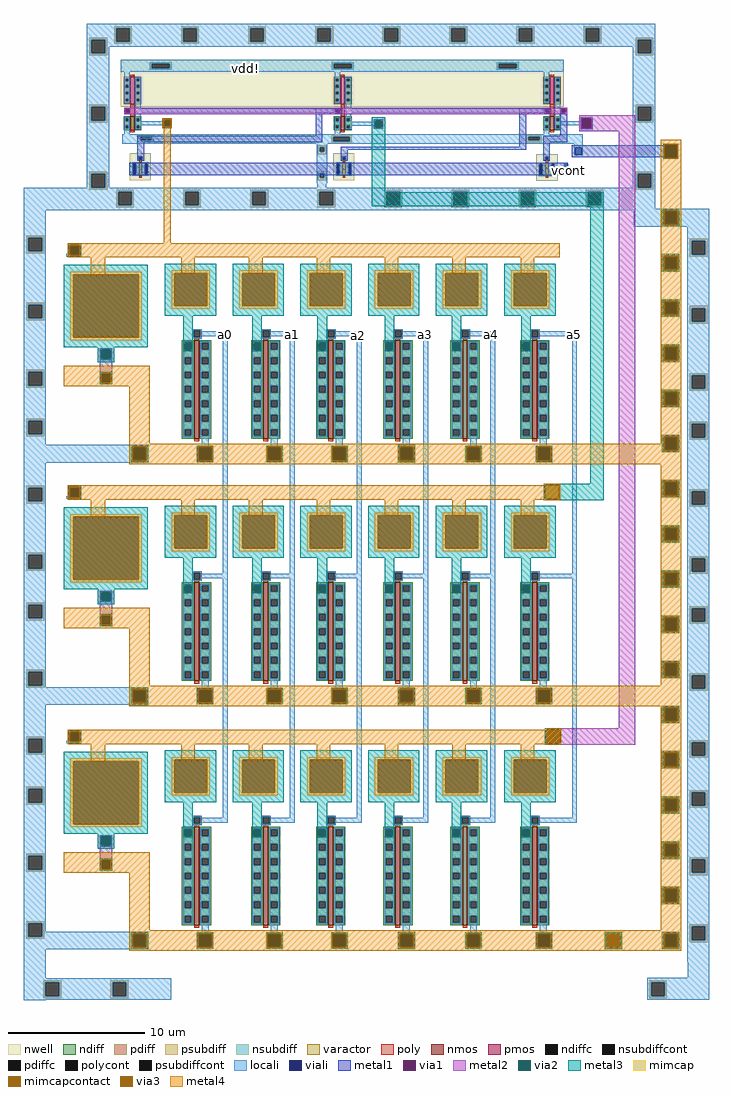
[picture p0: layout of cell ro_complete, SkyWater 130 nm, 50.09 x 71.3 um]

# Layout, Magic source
magic
tech sky130A
<< psubdiff >>
rect 4315 75 4445 90
rect 4315 -25 4330 75
rect 4430 -25 4445 75
rect 4315 -40 4445 -25
rect -329 -121 -199 -106
rect -329 -221 -314 -121
rect -214 -221 -199 -121
rect -329 -236 -199 -221
rect 4518 -145 4648 -130
rect 4315 -255 4445 -240
rect 4315 -355 4330 -255
rect 4430 -355 4445 -255
rect 4518 -245 4533 -145
rect 4633 -245 4648 -145
rect 4518 -260 4648 -245
rect 4315 -370 4445 -355
rect 4315 -585 4445 -570
rect -329 -611 -199 -596
rect -329 -711 -314 -611
rect -214 -711 -199 -611
rect 4315 -685 4330 -585
rect 4430 -685 4445 -585
rect 4315 -700 4445 -685
rect 4518 -635 4648 -620
rect -329 -726 -199 -711
rect 4518 -735 4533 -635
rect 4633 -735 4648 -635
rect 4518 -750 4648 -735
rect 4315 -915 4445 -900
rect 4315 -1015 4330 -915
rect 4430 -1015 4445 -915
rect 4315 -1030 4445 -1015
rect -329 -1101 -199 -1086
rect -329 -1201 -314 -1101
rect -214 -1201 -199 -1101
rect -329 -1216 -199 -1201
rect 4518 -1125 4648 -1110
rect 4518 -1225 4533 -1125
rect 4633 -1225 4648 -1125
rect 4315 -1245 4445 -1230
rect 4518 -1240 4648 -1225
rect 4315 -1345 4330 -1245
rect 4430 -1345 4445 -1245
rect 4315 -1360 4445 -1345
rect -329 -1458 -199 -1443
rect -329 -1558 -314 -1458
rect -214 -1558 -199 -1458
rect -329 -1573 -199 -1558
rect 4518 -1482 4648 -1467
rect 4315 -1575 4445 -1560
rect 4315 -1675 4330 -1575
rect 4430 -1675 4445 -1575
rect 4518 -1582 4533 -1482
rect 4633 -1582 4648 -1482
rect 4518 -1597 4648 -1582
rect 4315 -1690 4445 -1675
rect 4315 -1905 4445 -1890
rect -329 -1948 -199 -1933
rect -329 -2048 -314 -1948
rect -214 -2048 -199 -1948
rect 4315 -2005 4330 -1905
rect 4430 -2005 4445 -1905
rect 4315 -2020 4445 -2005
rect 4518 -1972 4648 -1957
rect -329 -2063 -199 -2048
rect 4518 -2072 4533 -1972
rect 4633 -2072 4648 -1972
rect 4518 -2087 4648 -2072
rect 4315 -2235 4445 -2220
rect 4315 -2335 4330 -2235
rect 4430 -2335 4445 -2235
rect 4315 -2350 4445 -2335
rect -329 -2438 -199 -2423
rect -329 -2538 -314 -2438
rect -214 -2538 -199 -2438
rect -329 -2553 -199 -2538
rect 4518 -2462 4648 -2447
rect 4315 -2565 4445 -2550
rect 4315 -2665 4330 -2565
rect 4430 -2665 4445 -2565
rect 4518 -2562 4533 -2462
rect 4633 -2562 4648 -2462
rect 4518 -2577 4648 -2562
rect 4315 -2680 4445 -2665
rect -329 -2803 -199 -2788
rect -329 -2903 -314 -2803
rect -214 -2903 -199 -2803
rect 4518 -2827 4648 -2812
rect -329 -2918 -199 -2903
rect 4315 -2895 4445 -2880
rect 4315 -2995 4330 -2895
rect 4430 -2995 4445 -2895
rect 4518 -2927 4533 -2827
rect 4633 -2927 4648 -2827
rect 4518 -2942 4648 -2927
rect 4315 -3010 4445 -2995
rect 4315 -3225 4445 -3210
rect -329 -3293 -199 -3278
rect -329 -3393 -314 -3293
rect -214 -3393 -199 -3293
rect 4315 -3325 4330 -3225
rect 4430 -3325 4445 -3225
rect 4315 -3340 4445 -3325
rect 4518 -3317 4648 -3302
rect -329 -3408 -199 -3393
rect 4518 -3417 4533 -3317
rect 4633 -3417 4648 -3317
rect 4518 -3432 4648 -3417
rect 4315 -3555 4445 -3540
rect 4315 -3655 4330 -3555
rect 4430 -3655 4445 -3555
rect 4315 -3670 4445 -3655
rect -329 -3783 -199 -3768
rect -329 -3883 -314 -3783
rect -214 -3883 -199 -3783
rect 4518 -3807 4648 -3792
rect -329 -3898 -199 -3883
rect 4315 -3885 4445 -3870
rect 4315 -3985 4330 -3885
rect 4430 -3985 4445 -3885
rect 4518 -3907 4533 -3807
rect 4633 -3907 4648 -3807
rect 4518 -3922 4648 -3907
rect 4315 -4000 4445 -3985
rect -329 -4148 -199 -4133
rect -329 -4248 -314 -4148
rect -214 -4248 -199 -4148
rect 4518 -4172 4648 -4157
rect -329 -4263 -199 -4248
rect 4315 -4215 4445 -4200
rect 4315 -4315 4330 -4215
rect 4430 -4315 4445 -4215
rect 4518 -4272 4533 -4172
rect 4633 -4272 4648 -4172
rect 4518 -4287 4648 -4272
rect 4315 -4330 4445 -4315
rect 4315 -4545 4445 -4530
rect -329 -4638 -199 -4623
rect -329 -4738 -314 -4638
rect -214 -4738 -199 -4638
rect 4315 -4645 4330 -4545
rect 4430 -4645 4445 -4545
rect 4315 -4660 4445 -4645
rect -329 -4753 -199 -4738
rect 4518 -4662 4648 -4647
rect 4518 -4762 4533 -4662
rect 4633 -4762 4648 -4662
rect 4518 -4777 4648 -4762
rect 4315 -4875 4445 -4860
rect 4315 -4975 4330 -4875
rect 4430 -4975 4445 -4875
rect 4315 -4990 4445 -4975
rect -329 -5128 -199 -5113
rect -329 -5228 -314 -5128
rect -214 -5228 -199 -5128
rect 4518 -5152 4648 -5137
rect -329 -5243 -199 -5228
rect 3895 -5205 4025 -5190
rect 3895 -5305 3910 -5205
rect 4010 -5305 4025 -5205
rect 3895 -5320 4025 -5305
rect 4315 -5205 4445 -5190
rect 4315 -5305 4330 -5205
rect 4430 -5305 4445 -5205
rect 4518 -5252 4533 -5152
rect 4633 -5252 4648 -5152
rect 4518 -5267 4648 -5252
rect 4315 -5320 4445 -5305
rect -204 -5562 -74 -5547
rect -204 -5662 -189 -5562
rect -89 -5662 -74 -5562
rect -204 -5677 -74 -5662
rect 286 -5562 416 -5547
rect 286 -5662 301 -5562
rect 401 -5662 416 -5562
rect 286 -5677 416 -5662
rect 4221 -5561 4351 -5546
rect 4221 -5661 4236 -5561
rect 4336 -5661 4351 -5561
rect 4221 -5676 4351 -5661
<< psubdiffcont >>
rect 4330 -25 4430 75
rect -314 -221 -214 -121
rect 4330 -355 4430 -255
rect 4533 -245 4633 -145
rect -314 -711 -214 -611
rect 4330 -685 4430 -585
rect 4533 -735 4633 -635
rect 4330 -1015 4430 -915
rect -314 -1201 -214 -1101
rect 4533 -1225 4633 -1125
rect 4330 -1345 4430 -1245
rect -314 -1558 -214 -1458
rect 4330 -1675 4430 -1575
rect 4533 -1582 4633 -1482
rect -314 -2048 -214 -1948
rect 4330 -2005 4430 -1905
rect 4533 -2072 4633 -1972
rect 4330 -2335 4430 -2235
rect -314 -2538 -214 -2438
rect 4330 -2665 4430 -2565
rect 4533 -2562 4633 -2462
rect -314 -2903 -214 -2803
rect 4330 -2995 4430 -2895
rect 4533 -2927 4633 -2827
rect -314 -3393 -214 -3293
rect 4330 -3325 4430 -3225
rect 4533 -3417 4633 -3317
rect 4330 -3655 4430 -3555
rect -314 -3883 -214 -3783
rect 4330 -3985 4430 -3885
rect 4533 -3907 4633 -3807
rect -314 -4248 -214 -4148
rect 4330 -4315 4430 -4215
rect 4533 -4272 4633 -4172
rect -314 -4738 -214 -4638
rect 4330 -4645 4430 -4545
rect 4533 -4762 4633 -4662
rect 4330 -4975 4430 -4875
rect -314 -5228 -214 -5128
rect 3910 -5305 4010 -5205
rect 4330 -5305 4430 -5205
rect 4533 -5252 4633 -5152
rect -189 -5662 -89 -5562
rect 301 -5662 401 -5562
rect 4236 -5661 4336 -5561
<< locali >>
rect 3720 750 3810 760
rect 665 740 735 750
rect 665 730 675 740
rect 505 700 675 730
rect 665 690 675 700
rect 725 690 735 740
rect 2210 735 2280 745
rect 2210 725 2220 735
rect 2040 695 2220 725
rect 665 680 735 690
rect 2210 685 2220 695
rect 2270 685 2280 735
rect 3720 730 3730 750
rect 3570 700 3730 730
rect 2210 675 2280 685
rect 3720 680 3730 700
rect 3800 680 3810 750
rect 3720 670 3810 680
rect 3595 565 3735 635
rect 3675 535 3735 565
rect 3675 485 3680 535
rect 3730 485 3735 535
rect 3675 480 3735 485
rect 3598 415 3628 426
rect 3598 338 3606 415
rect 3623 338 3628 415
rect 3598 330 3628 338
rect -346 81 295 245
rect 4108 91 4267 132
rect -346 -121 -186 81
rect 4108 75 4661 91
rect 4108 -25 4330 75
rect 4430 -25 4661 75
rect 4108 -42 4661 -25
rect -346 -221 -314 -121
rect -214 -221 -186 -121
rect -346 -611 -186 -221
rect 4501 -145 4661 -42
rect 4501 -245 4533 -145
rect 4633 -245 4661 -145
rect 4320 -255 4440 -245
rect 4320 -355 4330 -255
rect 4430 -355 4440 -255
rect 4320 -365 4440 -355
rect -346 -711 -314 -611
rect -214 -711 -186 -611
rect 4320 -585 4440 -575
rect 4320 -685 4330 -585
rect 4430 -685 4440 -585
rect 4320 -695 4440 -685
rect 4501 -635 4661 -245
rect -346 -1101 -186 -711
rect 4501 -735 4533 -635
rect 4633 -735 4661 -635
rect 958 -840 1143 -805
rect 1462 -840 1632 -805
rect 1936 -840 2121 -805
rect 2426 -840 2606 -805
rect 2917 -840 3097 -805
rect 3428 -840 3693 -805
rect -346 -1201 -314 -1101
rect -214 -1201 -186 -1101
rect -346 -1458 -186 -1201
rect -346 -1558 -314 -1458
rect -214 -1558 -186 -1458
rect -346 -1634 -186 -1558
rect -346 -1764 565 -1634
rect -346 -1948 -186 -1764
rect -346 -2048 -314 -1948
rect -214 -2048 -186 -1948
rect -346 -2438 -186 -2048
rect -346 -2538 -314 -2438
rect -214 -2538 -186 -2438
rect -346 -2803 -186 -2538
rect 1108 -2575 1143 -840
rect 1597 -2575 1632 -840
rect 2086 -2575 2121 -840
rect 2571 -2575 2606 -840
rect 3062 -2575 3097 -840
rect 3658 -2575 3693 -840
rect 4320 -915 4440 -905
rect 4320 -1015 4330 -915
rect 4430 -1015 4440 -915
rect 4320 -1025 4440 -1015
rect 4501 -1125 4661 -735
rect 4501 -1225 4533 -1125
rect 4633 -1225 4661 -1125
rect 4320 -1245 4440 -1235
rect 4320 -1345 4330 -1245
rect 4430 -1345 4440 -1245
rect 4320 -1355 4440 -1345
rect 4501 -1482 4661 -1225
rect 4320 -1575 4440 -1565
rect 4320 -1675 4330 -1575
rect 4430 -1675 4440 -1575
rect 4320 -1685 4440 -1675
rect 4501 -1582 4533 -1482
rect 4633 -1582 4661 -1482
rect 4320 -1905 4440 -1895
rect 4320 -2005 4330 -1905
rect 4430 -2005 4440 -1905
rect 4320 -2015 4440 -2005
rect 4501 -1972 4661 -1582
rect 4501 -2072 4533 -1972
rect 4633 -2072 4661 -1972
rect 4320 -2235 4440 -2225
rect 4320 -2335 4330 -2235
rect 4430 -2335 4440 -2235
rect 4320 -2345 4440 -2335
rect 4501 -2462 4661 -2072
rect 958 -2610 1143 -2575
rect 1462 -2610 1632 -2575
rect 1936 -2610 2121 -2575
rect 2426 -2610 2606 -2575
rect 2917 -2610 3097 -2575
rect 3428 -2610 3693 -2575
rect -346 -2903 -314 -2803
rect -214 -2903 -186 -2803
rect -346 -3293 -186 -2903
rect -346 -3393 -314 -3293
rect -214 -3393 -186 -3293
rect -346 -3404 -186 -3393
rect -346 -3534 563 -3404
rect -346 -3783 -186 -3534
rect -346 -3883 -314 -3783
rect -214 -3883 -186 -3783
rect -346 -4148 -186 -3883
rect -346 -4248 -314 -4148
rect -214 -4248 -186 -4148
rect -346 -4638 -186 -4248
rect 1108 -4360 1143 -2610
rect 1597 -4360 1632 -2610
rect 2086 -4360 2121 -2610
rect 2571 -4360 2606 -2610
rect 3062 -4360 3097 -2610
rect 3658 -4360 3693 -2610
rect 4320 -2565 4440 -2555
rect 4320 -2665 4330 -2565
rect 4430 -2665 4440 -2565
rect 4320 -2675 4440 -2665
rect 4501 -2562 4533 -2462
rect 4633 -2562 4661 -2462
rect 4501 -2827 4661 -2562
rect 4320 -2895 4440 -2885
rect 4320 -2995 4330 -2895
rect 4430 -2995 4440 -2895
rect 4320 -3005 4440 -2995
rect 4501 -2927 4533 -2827
rect 4633 -2927 4661 -2827
rect 4320 -3225 4440 -3215
rect 4320 -3325 4330 -3225
rect 4430 -3325 4440 -3225
rect 4320 -3335 4440 -3325
rect 4501 -3317 4661 -2927
rect 4501 -3417 4533 -3317
rect 4633 -3417 4661 -3317
rect 4320 -3555 4440 -3545
rect 4320 -3655 4330 -3555
rect 4430 -3655 4440 -3555
rect 4320 -3665 4440 -3655
rect 4501 -3807 4661 -3417
rect 4320 -3885 4440 -3875
rect 4320 -3985 4330 -3885
rect 4430 -3985 4440 -3885
rect 4320 -3995 4440 -3985
rect 4501 -3907 4533 -3807
rect 4633 -3907 4661 -3807
rect 4501 -4172 4661 -3907
rect 4320 -4215 4440 -4205
rect 4320 -4315 4330 -4215
rect 4430 -4315 4440 -4215
rect 4320 -4325 4440 -4315
rect 4501 -4272 4533 -4172
rect 4633 -4272 4661 -4172
rect 958 -4395 1143 -4360
rect 1462 -4395 1632 -4360
rect 1936 -4395 2121 -4360
rect 2426 -4395 2606 -4360
rect 2917 -4395 3097 -4360
rect 3428 -4395 3693 -4360
rect -346 -4738 -314 -4638
rect -214 -4738 -186 -4638
rect 4320 -4545 4440 -4535
rect 4320 -4645 4330 -4545
rect 4430 -4645 4440 -4545
rect 4320 -4655 4440 -4645
rect -346 -5128 -186 -4738
rect 4501 -4662 4661 -4272
rect 4501 -4762 4533 -4662
rect 4633 -4762 4661 -4662
rect 4320 -4875 4440 -4865
rect 4320 -4975 4330 -4875
rect 4430 -4975 4440 -4875
rect 4320 -4985 4440 -4975
rect -346 -5228 -314 -5128
rect -214 -5191 -186 -5128
rect 4501 -5152 4661 -4762
rect -214 -5228 567 -5191
rect -346 -5318 567 -5228
rect 3900 -5205 4020 -5195
rect 3900 -5305 3910 -5205
rect 4010 -5305 4020 -5205
rect 3900 -5315 4020 -5305
rect 4320 -5205 4440 -5195
rect 4320 -5305 4330 -5205
rect 4430 -5305 4440 -5205
rect 4320 -5315 4440 -5305
rect 4501 -5252 4533 -5152
rect 4633 -5252 4661 -5152
rect -348 -5321 567 -5318
rect -348 -5530 -185 -5321
rect 4501 -5389 4661 -5252
rect 4501 -5410 4659 -5389
rect 4502 -5529 4659 -5410
rect -348 -5562 731 -5530
rect -348 -5662 -189 -5562
rect -89 -5662 301 -5562
rect 401 -5662 731 -5562
rect -348 -5688 731 -5662
rect 4207 -5561 4659 -5529
rect 4207 -5661 4236 -5561
rect 4336 -5661 4659 -5561
rect 4207 -5687 4659 -5661
rect -348 -5690 -185 -5688
<< viali >>
rect 675 690 725 740
rect 2220 685 2270 735
rect 3730 680 3800 750
rect 3680 485 3730 535
rect 3606 338 3623 415
rect 4330 -25 4430 75
rect 4330 -355 4430 -255
rect 4330 -685 4430 -585
rect 4330 -1015 4430 -915
rect 4330 -1345 4430 -1245
rect 4330 -1675 4430 -1575
rect 4330 -2005 4430 -1905
rect 4330 -2335 4430 -2235
rect 4330 -2665 4430 -2565
rect 4330 -2995 4430 -2895
rect 4330 -3325 4430 -3225
rect 4330 -3655 4430 -3555
rect 4330 -3985 4430 -3885
rect 4330 -4315 4430 -4215
rect 4330 -4645 4430 -4545
rect 4330 -4975 4430 -4875
rect 3910 -5305 4010 -5205
rect 4330 -5305 4430 -5205
<< metal1 >>
rect 3720 750 3810 760
rect 665 740 735 750
rect 665 690 675 740
rect 725 690 735 740
rect 665 680 735 690
rect 2210 735 2280 745
rect 2210 685 2220 735
rect 2270 685 2280 735
rect 2210 675 2280 685
rect 3720 680 3730 750
rect 3800 680 3810 750
rect 3720 670 3810 680
rect 4325 560 4435 565
rect 4325 555 4330 560
rect 3655 535 4330 555
rect 3655 485 3680 535
rect 3730 485 4330 535
rect 3655 465 4330 485
rect 4325 460 4330 465
rect 4430 460 4435 560
rect 4325 455 4435 460
rect 3598 415 3628 426
rect 3598 338 3606 415
rect 3623 338 3628 415
rect 3598 330 3628 338
rect 4320 75 4440 85
rect 4320 -25 4330 75
rect 4430 -25 4440 75
rect 4320 -35 4440 -25
rect 4320 -255 4440 -245
rect 4320 -355 4330 -255
rect 4430 -355 4440 -255
rect 4320 -365 4440 -355
rect 4320 -585 4440 -575
rect 4320 -685 4330 -585
rect 4430 -685 4440 -585
rect 4320 -695 4440 -685
rect 4320 -915 4440 -905
rect 4320 -1015 4330 -915
rect 4430 -1015 4440 -915
rect 4320 -1025 4440 -1015
rect 4320 -1245 4440 -1235
rect 4320 -1345 4330 -1245
rect 4430 -1345 4440 -1245
rect 4320 -1355 4440 -1345
rect 4320 -1575 4440 -1565
rect 4320 -1675 4330 -1575
rect 4430 -1675 4440 -1575
rect 4320 -1685 4440 -1675
rect 4320 -1905 4440 -1895
rect 4320 -2005 4330 -1905
rect 4430 -2005 4440 -1905
rect 4320 -2015 4440 -2005
rect 4320 -2235 4440 -2225
rect 4320 -2335 4330 -2235
rect 4430 -2335 4440 -2235
rect 4320 -2345 4440 -2335
rect 4320 -2565 4440 -2555
rect 4320 -2665 4330 -2565
rect 4430 -2665 4440 -2565
rect 4320 -2675 4440 -2665
rect 4320 -2895 4440 -2885
rect 4320 -2995 4330 -2895
rect 4430 -2995 4440 -2895
rect 4320 -3005 4440 -2995
rect 4320 -3225 4440 -3215
rect 4320 -3325 4330 -3225
rect 4430 -3325 4440 -3225
rect 4320 -3335 4440 -3325
rect 4320 -3555 4440 -3545
rect 4320 -3655 4330 -3555
rect 4430 -3655 4440 -3555
rect 4320 -3665 4440 -3655
rect 4320 -3885 4440 -3875
rect 4320 -3985 4330 -3885
rect 4430 -3985 4440 -3885
rect 4320 -3995 4440 -3985
rect 4320 -4215 4440 -4205
rect 4320 -4315 4330 -4215
rect 4430 -4315 4440 -4215
rect 4320 -4325 4440 -4315
rect 4320 -4545 4440 -4535
rect 4320 -4645 4330 -4545
rect 4430 -4645 4440 -4545
rect 4320 -4655 4440 -4645
rect 4320 -4875 4440 -4865
rect 4320 -4975 4330 -4875
rect 4430 -4975 4440 -4875
rect 4320 -4985 4440 -4975
rect 3900 -5205 4020 -5195
rect 3900 -5305 3910 -5205
rect 4010 -5305 4020 -5205
rect 3900 -5315 4020 -5305
rect 4320 -5205 4440 -5195
rect 4320 -5305 4330 -5205
rect 4430 -5305 4440 -5205
rect 4320 -5315 4440 -5305
<< via1 >>
rect 675 690 725 740
rect 2220 685 2270 735
rect 3730 680 3800 750
rect 4330 460 4430 560
rect 4330 -25 4430 75
rect 4330 -355 4430 -255
rect 4330 -685 4430 -585
rect 4330 -1015 4430 -915
rect 4330 -1345 4430 -1245
rect 4330 -1675 4430 -1575
rect 4330 -2005 4430 -1905
rect 4330 -2335 4430 -2235
rect 4330 -2665 4430 -2565
rect 4330 -2995 4430 -2895
rect 4330 -3325 4430 -3225
rect 4330 -3655 4430 -3555
rect 4330 -3985 4430 -3885
rect 4330 -4315 4430 -4215
rect 4330 -4645 4430 -4545
rect 4330 -4975 4430 -4875
rect 3910 -5305 4010 -5205
rect 4330 -5305 4430 -5205
<< metal2 >>
rect 3710 750 4120 775
rect 665 740 735 750
rect 665 690 675 740
rect 725 690 735 740
rect 665 680 735 690
rect 2210 735 2280 745
rect 2210 685 2220 735
rect 2270 685 2280 735
rect 2210 675 2280 685
rect 3710 680 3730 750
rect 3800 680 4120 750
rect 3710 655 4120 680
rect 4000 -3705 4120 655
rect 4325 560 4435 565
rect 4325 460 4330 560
rect 4430 460 4435 560
rect 4325 455 4435 460
rect 4320 75 4440 85
rect 4320 -25 4330 75
rect 4430 -25 4440 75
rect 4320 -35 4440 -25
rect 4320 -255 4440 -245
rect 4320 -355 4330 -255
rect 4430 -355 4440 -255
rect 4320 -365 4440 -355
rect 4320 -585 4440 -575
rect 4320 -685 4330 -585
rect 4430 -685 4440 -585
rect 4320 -695 4440 -685
rect 4320 -915 4440 -905
rect 4320 -1015 4330 -915
rect 4430 -1015 4440 -915
rect 4320 -1025 4440 -1015
rect 4320 -1245 4440 -1235
rect 4320 -1345 4330 -1245
rect 4430 -1345 4440 -1245
rect 4320 -1355 4440 -1345
rect 4320 -1575 4440 -1565
rect 4320 -1675 4330 -1575
rect 4430 -1675 4440 -1575
rect 4320 -1685 4440 -1675
rect 4320 -1905 4440 -1895
rect 4320 -2005 4330 -1905
rect 4430 -2005 4440 -1905
rect 4320 -2015 4440 -2005
rect 4320 -2235 4440 -2225
rect 4320 -2335 4330 -2235
rect 4430 -2335 4440 -2235
rect 4320 -2345 4440 -2335
rect 4320 -2565 4440 -2555
rect 4320 -2665 4330 -2565
rect 4430 -2665 4440 -2565
rect 4320 -2675 4440 -2665
rect 4320 -2895 4440 -2885
rect 4320 -2995 4330 -2895
rect 4430 -2995 4440 -2895
rect 4320 -3005 4440 -2995
rect 4320 -3225 4440 -3215
rect 4320 -3325 4330 -3225
rect 4430 -3325 4440 -3225
rect 4320 -3335 4440 -3325
rect 4320 -3555 4440 -3545
rect 4320 -3655 4330 -3555
rect 4430 -3655 4440 -3555
rect 4320 -3665 4440 -3655
rect 3458 -3715 4120 -3705
rect 3458 -3815 3468 -3715
rect 3568 -3815 4120 -3715
rect 3458 -3825 4120 -3815
rect 4320 -3885 4440 -3875
rect 4320 -3985 4330 -3885
rect 4430 -3985 4440 -3885
rect 4320 -3995 4440 -3985
rect 4320 -4215 4440 -4205
rect 4320 -4315 4330 -4215
rect 4430 -4315 4440 -4215
rect 4320 -4325 4440 -4315
rect 4320 -4545 4440 -4535
rect 4320 -4645 4330 -4545
rect 4430 -4645 4440 -4545
rect 4320 -4655 4440 -4645
rect 4320 -4875 4440 -4865
rect 4320 -4975 4330 -4875
rect 4430 -4975 4440 -4875
rect 4320 -4985 4440 -4975
rect 3900 -5205 4020 -5195
rect 3900 -5305 3910 -5205
rect 4010 -5305 4020 -5205
rect 3900 -5315 4020 -5305
rect 4320 -5205 4440 -5195
rect 4320 -5305 4330 -5205
rect 4430 -5305 4440 -5205
rect 4320 -5315 4440 -5305
<< via2 >>
rect 675 690 725 740
rect 2220 685 2270 735
rect 4330 460 4430 560
rect 4330 -25 4430 75
rect 4330 -355 4430 -255
rect 4330 -685 4430 -585
rect 4330 -1015 4430 -915
rect 4330 -1345 4430 -1245
rect 4330 -1675 4430 -1575
rect 4330 -2005 4430 -1905
rect 4330 -2335 4430 -2235
rect 4330 -2665 4430 -2565
rect 4330 -2995 4430 -2895
rect 4330 -3325 4430 -3225
rect 4330 -3655 4430 -3555
rect 3468 -3815 3568 -3715
rect 4330 -3985 4430 -3885
rect 4330 -4315 4430 -4215
rect 4330 -4645 4430 -4545
rect 4330 -4975 4430 -4875
rect 3910 -5305 4010 -5205
rect 4330 -5305 4430 -5205
<< metal3 >>
rect 665 740 735 750
rect 665 690 675 740
rect 725 690 735 740
rect 665 680 735 690
rect 2195 735 2295 760
rect 2195 685 2220 735
rect 2270 685 2295 735
rect 2195 210 2295 685
rect 4325 560 4435 565
rect 4325 460 4330 560
rect 4430 460 4435 560
rect 4325 455 4435 460
rect 2195 110 3890 210
rect 3790 -1920 3890 110
rect 4320 75 4440 85
rect 4320 -25 4330 75
rect 4430 -25 4440 75
rect 4320 -35 4440 -25
rect 4320 -255 4440 -245
rect 4320 -355 4330 -255
rect 4430 -355 4440 -255
rect 4320 -365 4440 -355
rect 4320 -585 4440 -575
rect 4320 -685 4330 -585
rect 4430 -685 4440 -585
rect 4320 -695 4440 -685
rect 4320 -915 4440 -905
rect 4320 -1015 4330 -915
rect 4430 -1015 4440 -915
rect 4320 -1025 4440 -1015
rect 4320 -1245 4440 -1235
rect 4320 -1345 4330 -1245
rect 4430 -1345 4440 -1245
rect 4320 -1355 4440 -1345
rect 4320 -1575 4440 -1565
rect 4320 -1675 4330 -1575
rect 4430 -1675 4440 -1575
rect 4320 -1685 4440 -1675
rect 3453 -1930 3890 -1920
rect 3453 -2030 3463 -1930
rect 3563 -2030 3890 -1930
rect 4320 -1905 4440 -1895
rect 4320 -2005 4330 -1905
rect 4430 -2005 4440 -1905
rect 4320 -2015 4440 -2005
rect 3453 -2040 3890 -2030
rect 4320 -2235 4440 -2225
rect 4320 -2335 4330 -2235
rect 4430 -2335 4440 -2235
rect 4320 -2345 4440 -2335
rect 4320 -2565 4440 -2555
rect 4320 -2665 4330 -2565
rect 4430 -2665 4440 -2565
rect 4320 -2675 4440 -2665
rect 4320 -2895 4440 -2885
rect 4320 -2995 4330 -2895
rect 4430 -2995 4440 -2895
rect 4320 -3005 4440 -2995
rect 4320 -3225 4440 -3215
rect 4320 -3325 4330 -3225
rect 4430 -3325 4440 -3225
rect 4320 -3335 4440 -3325
rect 4320 -3555 4440 -3545
rect 4320 -3655 4330 -3555
rect 4430 -3655 4440 -3555
rect 4320 -3665 4440 -3655
rect 3458 -3715 3578 -3705
rect 3458 -3815 3468 -3715
rect 3568 -3815 3578 -3715
rect 3458 -3825 3578 -3815
rect 4320 -3885 4440 -3875
rect 4320 -3985 4330 -3885
rect 4430 -3985 4440 -3885
rect 4320 -3995 4440 -3985
rect 4320 -4215 4440 -4205
rect 4320 -4315 4330 -4215
rect 4430 -4315 4440 -4215
rect 4320 -4325 4440 -4315
rect 4320 -4545 4440 -4535
rect 4320 -4645 4330 -4545
rect 4430 -4645 4440 -4545
rect 4320 -4655 4440 -4645
rect 4320 -4875 4440 -4865
rect 4320 -4975 4330 -4875
rect 4430 -4975 4440 -4875
rect 4320 -4985 4440 -4975
rect 3900 -5205 4020 -5195
rect 3900 -5305 3910 -5205
rect 4010 -5305 4020 -5205
rect 3900 -5315 4020 -5305
rect 4320 -5205 4440 -5195
rect 4320 -5305 4330 -5205
rect 4430 -5305 4440 -5205
rect 4320 -5315 4440 -5305
<< via3 >>
rect 675 690 725 740
rect 4330 460 4430 560
rect 4330 -25 4430 75
rect 4330 -355 4430 -255
rect 4330 -685 4430 -585
rect 4330 -1015 4430 -915
rect 4330 -1345 4430 -1245
rect 4330 -1675 4430 -1575
rect 3463 -2030 3563 -1930
rect 4330 -2005 4430 -1905
rect 4330 -2335 4430 -2235
rect 4330 -2665 4430 -2565
rect 4330 -2995 4430 -2895
rect 4330 -3325 4430 -3225
rect 4330 -3655 4430 -3555
rect 3468 -3815 3568 -3715
rect 4330 -3985 4430 -3885
rect 4330 -4315 4430 -4215
rect 4330 -4645 4430 -4545
rect 4330 -4975 4430 -4875
rect 3910 -5305 4010 -5205
rect 4330 -5305 4430 -5205
<< metal4 >>
rect 665 740 735 750
rect 665 690 675 740
rect 725 690 735 740
rect 665 680 735 690
rect 675 -205 725 680
rect 4305 560 4455 595
rect 4305 460 4330 560
rect 4430 460 4455 560
rect 4305 75 4455 460
rect 4305 -25 4330 75
rect 4430 -25 4455 75
rect 4305 -255 4455 -25
rect 4305 -355 4330 -255
rect 4430 -355 4455 -255
rect 4305 -585 4455 -355
rect 4305 -685 4330 -585
rect 4430 -685 4455 -585
rect 4305 -915 4455 -685
rect 4305 -1015 4330 -915
rect 4430 -1015 4455 -915
rect 4305 -1245 4455 -1015
rect 4305 -1345 4330 -1245
rect 4430 -1345 4455 -1245
rect 4305 -1575 4455 -1345
rect 4305 -1625 4330 -1575
rect 3965 -1675 4330 -1625
rect 4430 -1675 4455 -1575
rect 3965 -1775 4455 -1675
rect 4305 -1905 4455 -1775
rect 3453 -1930 3573 -1920
rect 3453 -2030 3463 -1930
rect 3563 -2030 3573 -1930
rect 3453 -2040 3573 -2030
rect 4305 -2005 4330 -1905
rect 4430 -2005 4455 -1905
rect 4305 -2235 4455 -2005
rect 4305 -2335 4330 -2235
rect 4430 -2335 4455 -2235
rect 4305 -2565 4455 -2335
rect 4305 -2665 4330 -2565
rect 4430 -2665 4455 -2565
rect 4305 -2895 4455 -2665
rect 4305 -2995 4330 -2895
rect 4430 -2995 4455 -2895
rect 4305 -3225 4455 -2995
rect 4305 -3325 4330 -3225
rect 4430 -3325 4455 -3225
rect 4305 -3395 4455 -3325
rect 3950 -3545 4455 -3395
rect 4305 -3555 4455 -3545
rect 4305 -3655 4330 -3555
rect 4430 -3655 4455 -3555
rect 3458 -3715 3578 -3705
rect 3458 -3815 3468 -3715
rect 3568 -3815 3578 -3715
rect 3458 -3825 3578 -3815
rect 4305 -3885 4455 -3655
rect 4305 -3985 4330 -3885
rect 4430 -3985 4455 -3885
rect 4305 -4215 4455 -3985
rect 4305 -4315 4330 -4215
rect 4430 -4315 4455 -4215
rect 4305 -4545 4455 -4315
rect 4305 -4645 4330 -4545
rect 4430 -4645 4455 -4545
rect 4305 -4875 4455 -4645
rect 4305 -4975 4330 -4875
rect 4430 -4975 4455 -4875
rect 4305 -5180 4455 -4975
rect 3885 -5205 4455 -5180
rect 3885 -5305 3910 -5205
rect 4010 -5305 4330 -5205
rect 4430 -5305 4455 -5205
rect 3885 -5330 4455 -5305
use cbank  cbank_1
transform 1 0 -42 0 1 -2705
box -15 -840 4075 775
use cbank  cbank_2
transform 1 0 -42 0 1 -4490
box -15 -840 4075 775
use cbank  cbank_0
transform 1 0 -42 0 1 -935
box -15 -840 4075 775
use ro_var_extend  ro_var_extend_0
transform 1 0 487 0 1 675
box -375 -595 3780 765
<< labels >>
rlabel locali 1123 -825 1123 -825 1 a0
rlabel locali 1617 -830 1617 -830 1 a1
rlabel locali 3673 -825 3673 -825 1 a5
rlabel locali 3072 -825 3072 -825 1 a4
rlabel locali 2591 -825 2591 -825 1 a3
rlabel locali 2101 -835 2101 -835 1 a2
rlabel space 3630 370 3630 370 1 vcont
rlabel space 1275 1115 1275 1115 1 vdd!
<< end >>

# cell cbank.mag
magic
tech sky130A
magscale 1 2
<< ndiff >>
rect 1720 -30 1860 110
rect 2730 92 2870 110
rect 2730 -8 2750 92
rect 2850 -8 2870 92
rect 2730 -30 2870 -8
rect 3680 92 3820 110
rect 3680 -8 3700 92
rect 3800 -8 3820 92
rect 3680 -30 3820 -8
rect 4660 92 4800 110
rect 4660 -8 4680 92
rect 4780 -8 4800 92
rect 4660 -30 4800 -8
rect 5640 92 5780 110
rect 5640 -8 5660 92
rect 5760 -8 5780 92
rect 5640 -30 5780 -8
rect 6660 92 6800 110
rect 6660 -8 6680 92
rect 6780 -8 6800 92
rect 6660 -30 6800 -8
<< ndiffc >>
rect 2750 -8 2850 92
rect 3700 -8 3800 92
rect 4680 -8 4780 92
rect 5660 -8 5760 92
rect 6680 -8 6780 92
<< psubdiff >>
rect 950 -1430 1210 -1400
rect 950 -1630 980 -1430
rect 1180 -1630 1210 -1430
rect 950 -1660 1210 -1630
rect 4850 -1430 5110 -1400
rect 4850 -1630 4880 -1430
rect 5080 -1630 5110 -1430
rect 4850 -1660 5110 -1630
<< psubdiffcont >>
rect 980 -1630 1180 -1430
rect 4880 -1630 5080 -1430
<< locali >>
rect 40 1520 230 1540
rect 40 1390 60 1520
rect 10 1370 60 1390
rect 210 1370 230 1520
rect 10 1350 230 1370
rect 1990 190 2000 260
rect 3000 190 3010 260
rect 3950 190 3960 260
rect 4930 190 4940 260
rect 5910 190 5920 260
rect 6930 190 6940 260
rect 1720 90 1860 110
rect 500 -10 680 10
rect 500 -140 520 -10
rect 660 -140 680 -10
rect 1720 -10 1740 90
rect 1840 -10 1860 90
rect 1720 -30 1860 -10
rect 2730 92 2870 110
rect 2730 -10 2750 92
rect 2850 -10 2870 92
rect 2730 -30 2870 -10
rect 3680 92 3820 110
rect 3680 -10 3700 92
rect 3800 -10 3820 92
rect 3680 -30 3820 -10
rect 4660 92 4800 110
rect 4660 -10 4680 92
rect 4780 -10 4800 92
rect 4660 -30 4800 -10
rect 5640 92 5780 110
rect 5640 -10 5660 92
rect 5760 -10 5780 92
rect 5640 -30 5780 -10
rect 6660 92 6800 110
rect 6660 -10 6680 92
rect 6780 -10 6800 92
rect 6660 -30 6800 -10
rect 500 -160 680 -140
rect 1990 -1410 2090 -1270
rect 3000 -1410 3100 -1280
rect 3950 -1410 4050 -1280
rect 4930 -1410 5030 -1280
rect 5910 -1410 6010 -1280
rect 6930 -1410 7030 -1280
rect 960 -1430 1200 -1410
rect 960 -1630 980 -1430
rect 1180 -1630 1200 -1430
rect 960 -1650 1200 -1630
rect 1920 -1430 2160 -1410
rect 1920 -1630 1940 -1430
rect 2140 -1630 2160 -1430
rect 1920 -1650 2160 -1630
rect 2930 -1430 3170 -1410
rect 2930 -1630 2950 -1430
rect 3150 -1630 3170 -1430
rect 2930 -1650 3170 -1630
rect 3880 -1430 4120 -1410
rect 3880 -1630 3900 -1430
rect 4100 -1630 4120 -1430
rect 3880 -1650 4120 -1630
rect 4860 -1430 5100 -1410
rect 4860 -1630 4880 -1430
rect 5080 -1630 5100 -1430
rect 4860 -1650 5100 -1630
rect 5840 -1430 6080 -1410
rect 5840 -1630 5860 -1430
rect 6060 -1630 6080 -1430
rect 5840 -1650 6080 -1630
rect 6870 -1430 7110 -1410
rect 6870 -1630 6890 -1430
rect 7090 -1630 7110 -1430
rect 6870 -1650 7110 -1630
<< viali >>
rect 60 1370 210 1520
rect 520 -140 660 -10
rect 1740 -10 1840 90
rect 2750 -8 2850 90
rect 2750 -10 2850 -8
rect 3700 -8 3800 90
rect 3700 -10 3800 -8
rect 4680 -8 4780 90
rect 4680 -10 4780 -8
rect 5660 -8 5760 90
rect 5660 -10 5760 -8
rect 6680 -8 6780 90
rect 6680 -10 6780 -8
rect 980 -1630 1180 -1430
rect 1940 -1630 2140 -1430
rect 2950 -1630 3150 -1430
rect 3900 -1630 4100 -1430
rect 4880 -1630 5080 -1430
rect 5860 -1630 6060 -1430
rect 6890 -1630 7090 -1430
<< metal1 >>
rect 40 1520 230 1540
rect 40 1370 60 1520
rect 210 1370 230 1520
rect 40 1350 230 1370
rect 1720 90 1860 110
rect 500 -10 680 10
rect 500 -140 520 -10
rect 660 -140 680 -10
rect 1720 -10 1740 90
rect 1840 -10 1860 90
rect 1720 -30 1860 -10
rect 2730 90 2870 110
rect 2730 -10 2750 90
rect 2850 -10 2870 90
rect 2730 -30 2870 -10
rect 3680 90 3820 110
rect 3680 -10 3700 90
rect 3800 -10 3820 90
rect 3680 -30 3820 -10
rect 4660 90 4800 110
rect 4660 -10 4680 90
rect 4780 -10 4800 90
rect 4660 -30 4800 -10
rect 5640 90 5780 110
rect 5640 -10 5660 90
rect 5760 -10 5780 90
rect 5640 -30 5780 -10
rect 6660 90 6800 110
rect 6660 -10 6680 90
rect 6780 -10 6800 90
rect 6660 -30 6800 -10
rect 500 -160 680 -140
rect 960 -1430 1200 -1410
rect 960 -1630 980 -1430
rect 1180 -1630 1200 -1430
rect 960 -1650 1200 -1630
rect 1920 -1430 2160 -1410
rect 1920 -1630 1940 -1430
rect 2140 -1630 2160 -1430
rect 1920 -1650 2160 -1630
rect 2930 -1430 3170 -1410
rect 2930 -1630 2950 -1430
rect 3150 -1630 3170 -1430
rect 2930 -1650 3170 -1630
rect 3880 -1430 4120 -1410
rect 3880 -1630 3900 -1430
rect 4100 -1630 4120 -1430
rect 3880 -1650 4120 -1630
rect 4860 -1430 5100 -1410
rect 4860 -1630 4880 -1430
rect 5080 -1630 5100 -1430
rect 4860 -1650 5100 -1630
rect 5840 -1430 6080 -1410
rect 5840 -1630 5860 -1430
rect 6060 -1630 6080 -1430
rect 5840 -1650 6080 -1630
rect 6870 -1430 7110 -1410
rect 6870 -1630 6890 -1430
rect 7090 -1630 7110 -1430
rect 6870 -1650 7110 -1630
<< via1 >>
rect 60 1370 210 1520
rect 520 -140 660 -10
rect 1740 -10 1840 90
rect 2750 -10 2850 90
rect 3700 -10 3800 90
rect 4680 -10 4780 90
rect 5660 -10 5760 90
rect 6680 -10 6780 90
rect 980 -1630 1180 -1430
rect 1940 -1630 2140 -1430
rect 2950 -1630 3150 -1430
rect 3900 -1630 4100 -1430
rect 4880 -1630 5080 -1430
rect 5860 -1630 6060 -1430
rect 6890 -1630 7090 -1430
<< metal2 >>
rect 40 1520 230 1540
rect 40 1370 60 1520
rect 210 1370 230 1520
rect 40 1350 230 1370
rect 1720 90 1860 110
rect 500 -10 680 10
rect 500 -140 520 -10
rect 660 -140 680 -10
rect 1720 -10 1740 90
rect 1840 -10 1860 90
rect 1720 -30 1860 -10
rect 2730 90 2870 110
rect 2730 -10 2750 90
rect 2850 -10 2870 90
rect 2730 -30 2870 -10
rect 3680 90 3820 110
rect 3680 -10 3700 90
rect 3800 -10 3820 90
rect 3680 -30 3820 -10
rect 4660 90 4800 110
rect 4660 -10 4680 90
rect 4780 -10 4800 90
rect 4660 -30 4800 -10
rect 5640 90 5780 110
rect 5640 -10 5660 90
rect 5760 -10 5780 90
rect 5640 -30 5780 -10
rect 6660 90 6800 110
rect 6660 -10 6680 90
rect 6780 -10 6800 90
rect 6660 -30 6800 -10
rect 500 -350 680 -140
rect 500 -490 520 -350
rect 660 -490 680 -350
rect 500 -510 680 -490
rect 960 -1430 1200 -1410
rect 960 -1630 980 -1430
rect 1180 -1630 1200 -1430
rect 960 -1650 1200 -1630
rect 1920 -1430 2160 -1410
rect 1920 -1630 1940 -1430
rect 2140 -1630 2160 -1430
rect 1920 -1650 2160 -1630
rect 2930 -1430 3170 -1410
rect 2930 -1630 2950 -1430
rect 3150 -1630 3170 -1430
rect 2930 -1650 3170 -1630
rect 3880 -1430 4120 -1410
rect 3880 -1630 3900 -1430
rect 4100 -1630 4120 -1430
rect 3880 -1650 4120 -1630
rect 4860 -1430 5100 -1410
rect 4860 -1630 4880 -1430
rect 5080 -1630 5100 -1430
rect 4860 -1650 5100 -1630
rect 5840 -1430 6080 -1410
rect 5840 -1630 5860 -1430
rect 6060 -1630 6080 -1430
rect 5840 -1650 6080 -1630
rect 6870 -1430 7110 -1410
rect 6870 -1630 6890 -1430
rect 7090 -1630 7110 -1430
rect 6870 -1650 7110 -1630
<< via2 >>
rect 60 1370 210 1520
rect 520 -140 660 -10
rect 1740 -10 1840 90
rect 2750 -10 2850 90
rect 3700 -10 3800 90
rect 4680 -10 4780 90
rect 5660 -10 5760 90
rect 6680 -10 6780 90
rect 520 -490 660 -350
rect 980 -1630 1180 -1430
rect 1940 -1630 2140 -1430
rect 2950 -1630 3150 -1430
rect 3900 -1630 4100 -1430
rect 4880 -1630 5080 -1430
rect 5860 -1630 6060 -1430
rect 6890 -1630 7090 -1430
<< metal3 >>
rect 40 1520 230 1540
rect 40 1370 60 1520
rect 210 1370 230 1520
rect 40 1350 230 1370
rect -30 30 1200 1230
rect 1450 490 2200 1250
rect 2440 490 3190 1250
rect 3430 490 4180 1250
rect 4420 490 5170 1250
rect 5410 490 6160 1250
rect 6410 490 7160 1250
rect 1720 90 1860 490
rect 470 -10 710 30
rect 470 -140 520 -10
rect 660 -140 710 -10
rect 1720 -10 1740 90
rect 1840 -10 1860 90
rect 1720 -30 1860 -10
rect 2730 90 2870 490
rect 2730 -10 2750 90
rect 2850 -10 2870 90
rect 2730 -30 2870 -10
rect 3680 90 3820 490
rect 3680 -10 3700 90
rect 3800 -10 3820 90
rect 3680 -30 3820 -10
rect 4660 90 4800 490
rect 4660 -10 4680 90
rect 4780 -10 4800 90
rect 4660 -30 4800 -10
rect 5640 90 5780 490
rect 5640 -10 5660 90
rect 5760 -10 5780 90
rect 5640 -30 5780 -10
rect 6660 90 6800 490
rect 6660 -10 6680 90
rect 6780 -10 6800 90
rect 6660 -30 6800 -10
rect 470 -190 710 -140
rect 500 -350 680 -330
rect 500 -490 520 -350
rect 660 -490 680 -350
rect 500 -510 680 -490
rect 960 -1430 1200 -1410
rect 960 -1630 980 -1430
rect 1180 -1630 1200 -1430
rect 960 -1650 1200 -1630
rect 1920 -1430 2160 -1410
rect 1920 -1630 1940 -1430
rect 2140 -1630 2160 -1430
rect 1920 -1650 2160 -1630
rect 2930 -1430 3170 -1410
rect 2930 -1630 2950 -1430
rect 3150 -1630 3170 -1430
rect 2930 -1650 3170 -1630
rect 3880 -1430 4120 -1410
rect 3880 -1630 3900 -1430
rect 4100 -1630 4120 -1430
rect 3880 -1650 4120 -1630
rect 4860 -1430 5100 -1410
rect 4860 -1630 4880 -1430
rect 5080 -1630 5100 -1430
rect 4860 -1650 5100 -1630
rect 5840 -1430 6080 -1410
rect 5840 -1630 5860 -1430
rect 6060 -1630 6080 -1430
rect 5840 -1650 6080 -1630
rect 6870 -1430 7110 -1410
rect 6870 -1630 6890 -1430
rect 7090 -1630 7110 -1430
rect 6870 -1650 7110 -1630
<< via3 >>
rect 60 1370 210 1520
rect 520 -490 660 -350
rect 980 -1630 1180 -1430
rect 1940 -1630 2140 -1430
rect 2950 -1630 3150 -1430
rect 3900 -1630 4100 -1430
rect 4880 -1630 5080 -1430
rect 5860 -1630 6060 -1430
rect 6890 -1630 7090 -1430
<< mimcap >>
rect 70 1090 1110 1130
rect 70 170 110 1090
rect 1070 170 1110 1090
rect 1550 1110 2110 1150
rect 1550 630 1590 1110
rect 2070 630 2110 1110
rect 1550 590 2110 630
rect 2540 1110 3100 1150
rect 2540 630 2580 1110
rect 3060 630 3100 1110
rect 2540 590 3100 630
rect 3530 1110 4090 1150
rect 3530 630 3570 1110
rect 4050 630 4090 1110
rect 3530 590 4090 630
rect 4520 1110 5080 1150
rect 4520 630 4560 1110
rect 5040 630 5080 1110
rect 4520 590 5080 630
rect 5510 1110 6070 1150
rect 5510 630 5550 1110
rect 6030 630 6070 1110
rect 5510 590 6070 630
rect 6510 1110 7070 1150
rect 6510 630 6550 1110
rect 7030 630 7070 1110
rect 6510 590 7070 630
rect 70 130 1110 170
<< mimcapcontact >>
rect 110 170 1070 1090
rect 1590 630 2070 1110
rect 2580 630 3060 1110
rect 3570 630 4050 1110
rect 4560 630 5040 1110
rect 5550 630 6030 1110
rect 6550 630 7030 1110
<< metal4 >>
rect 30 1520 7220 1550
rect 30 1370 60 1520
rect 210 1370 7220 1520
rect 30 1340 7220 1370
rect 370 1091 580 1340
rect 1690 1111 1890 1340
rect 2680 1111 2880 1340
rect 3670 1111 3870 1340
rect 4660 1111 4860 1340
rect 5650 1111 5850 1340
rect 6650 1111 6850 1340
rect 1589 1110 2071 1111
rect 109 1090 1071 1091
rect 109 170 110 1090
rect 1070 170 1071 1090
rect 1589 630 1590 1110
rect 2070 630 2071 1110
rect 1589 629 2071 630
rect 2579 1110 3061 1111
rect 2579 630 2580 1110
rect 3060 630 3061 1110
rect 2579 629 3061 630
rect 3569 1110 4051 1111
rect 3569 630 3570 1110
rect 4050 630 4051 1110
rect 3569 629 4051 630
rect 4559 1110 5041 1111
rect 4559 630 4560 1110
rect 5040 630 5041 1110
rect 4559 629 5041 630
rect 5549 1110 6031 1111
rect 5549 630 5550 1110
rect 6030 630 6031 1110
rect 5549 629 6031 630
rect 6549 1110 7031 1111
rect 6549 630 6550 1110
rect 7030 630 7031 1110
rect 6549 629 7031 630
rect 109 169 1071 170
rect 440 -242 800 -240
rect -30 -350 1230 -242
rect -30 -490 520 -350
rect 660 -490 1230 -350
rect -30 -540 1230 -490
rect -30 -542 440 -540
rect 760 -542 1230 -540
rect 930 -1380 1230 -542
rect 930 -1430 8150 -1380
rect 930 -1630 980 -1430
rect 1180 -1630 1940 -1430
rect 2140 -1630 2950 -1430
rect 3150 -1630 3900 -1430
rect 4100 -1630 4880 -1430
rect 5080 -1630 5860 -1430
rect 6060 -1630 6890 -1430
rect 7090 -1630 8150 -1430
rect 930 -1680 8150 -1630
use switch  switch_0
transform 1 0 1890 0 1 -1308
box -190 -40 240 1600
use switch  switch_1
transform 1 0 2900 0 1 -1308
box -190 -40 240 1600
use switch  switch_2
transform 1 0 3850 0 1 -1308
box -190 -40 240 1600
use switch  switch_3
transform 1 0 4830 0 1 -1308
box -190 -40 240 1600
use switch  switch_4
transform 1 0 5810 0 1 -1308
box -190 -40 240 1600
use switch  switch_5
transform 1 0 6830 0 1 -1308
box -190 -40 240 1600
<< labels >>
rlabel locali 20 1360 20 1360 1 v
rlabel locali 2000 220 2000 220 1 a0
rlabel locali 3010 220 3010 220 1 a1
rlabel locali 3960 210 3960 210 1 a2
rlabel locali 4950 -1370 4951 -1370 1 gnd!
rlabel locali 4940 210 4940 210 1 a3
rlabel locali 5920 200 5920 200 1 a4
rlabel locali 6940 200 6940 200 1 a5
<< end >>

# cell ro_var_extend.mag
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
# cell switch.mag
magic
tech sky130A
<< nmos >>
rect -5 0 30 720
<< ndiff >>
rect -95 700 -5 720
rect -95 650 -75 700
rect -25 650 -5 700
rect -95 595 -5 650
rect -95 545 -75 595
rect -25 545 -5 595
rect -95 490 -5 545
rect -95 440 -75 490
rect -25 440 -5 490
rect -95 385 -5 440
rect -95 335 -75 385
rect -25 335 -5 385
rect -95 280 -5 335
rect -95 230 -75 280
rect -25 230 -5 280
rect -95 175 -5 230
rect -95 125 -75 175
rect -25 125 -5 175
rect -95 70 -5 125
rect -95 20 -75 70
rect -25 20 -5 70
rect -95 0 -5 20
rect 30 700 120 720
rect 30 650 50 700
rect 100 650 120 700
rect 30 595 120 650
rect 30 545 50 595
rect 100 545 120 595
rect 30 490 120 545
rect 30 440 50 490
rect 100 440 120 490
rect 30 385 120 440
rect 30 335 50 385
rect 100 335 120 385
rect 30 280 120 335
rect 30 230 50 280
rect 100 230 120 280
rect 30 175 120 230
rect 30 125 50 175
rect 100 125 120 175
rect 30 70 120 125
rect 30 20 50 70
rect 100 20 120 70
rect 30 0 120 20
<< ndiffc >>
rect -75 650 -25 700
rect -75 545 -25 595
rect -75 440 -25 490
rect -75 335 -25 385
rect -75 230 -25 280
rect -75 125 -25 175
rect -75 20 -25 70
rect 50 650 100 700
rect 50 545 100 595
rect 50 440 100 490
rect 50 335 100 385
rect 50 230 100 280
rect 50 125 100 175
rect 50 20 100 70
<< poly >>
rect -20 790 50 800
rect -20 740 -10 790
rect 40 740 50 790
rect -20 730 50 740
rect -5 720 30 730
rect -5 -20 30 0
<< polycont >>
rect -10 740 40 790
<< locali >>
rect -20 790 50 800
rect -20 740 -10 790
rect 40 740 50 790
rect -20 730 50 740
rect -85 700 -15 710
rect -85 650 -75 700
rect -25 650 -15 700
rect -85 595 -15 650
rect -85 545 -75 595
rect -25 545 -15 595
rect -85 490 -15 545
rect -85 440 -75 490
rect -25 440 -15 490
rect -85 385 -15 440
rect -85 335 -75 385
rect -25 335 -15 385
rect -85 280 -15 335
rect -85 230 -75 280
rect -25 230 -15 280
rect -85 175 -15 230
rect -85 125 -75 175
rect -25 125 -15 175
rect -85 70 -15 125
rect -85 20 -75 70
rect -25 20 -15 70
rect -85 10 -15 20
rect 40 700 110 710
rect 40 650 50 700
rect 100 650 110 700
rect 40 595 110 650
rect 40 545 50 595
rect 100 545 110 595
rect 40 490 110 545
rect 40 440 50 490
rect 100 440 110 490
rect 40 385 110 440
rect 40 335 50 385
rect 100 335 110 385
rect 40 280 110 335
rect 40 230 50 280
rect 100 230 110 280
rect 40 175 110 230
rect 40 125 50 175
rect 100 125 110 175
rect 40 70 110 125
rect 40 20 50 70
rect 100 20 110 70
rect 40 10 110 20
<< labels >>
rlabel locali 10 795 10 795 1 vcont
rlabel locali -75 705 -75 705 1 vin
rlabel locali 105 705 105 705 1 vout
<< end >>
